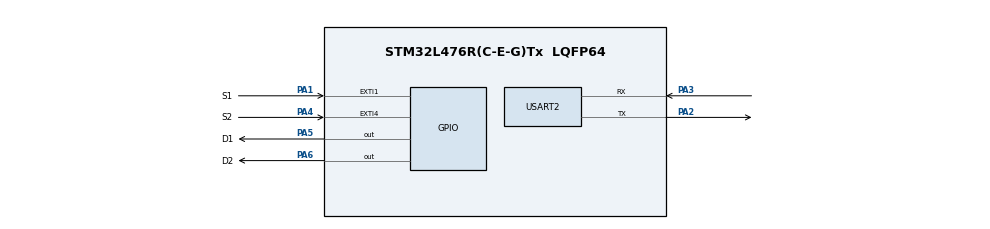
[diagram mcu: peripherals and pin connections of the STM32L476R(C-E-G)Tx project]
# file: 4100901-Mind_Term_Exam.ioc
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Mcu.Family=STM32L4
Mcu.Name=STM32L476R(C-E-G)Tx
Mcu.Package=LQFP64
NVIC.EXTI1_IRQn=true\:0\:0\:false\:false\:true\:true\:true\:true
NVIC.EXTI4_IRQn=true\:0\:0\:false\:false\:true\:true\:true\:true
NVIC.PriorityGroup=NVIC_PRIORITYGROUP_4
PA1.GPIO_Label=S1
PA1.Signal=GPXTI1
PA2.Mode=Asynchronous
PA2.Signal=USART2_TX
PA3.Mode=Asynchronous
PA3.Signal=USART2_RX
PA4.GPIO_Label=S2
PA4.Signal=GPXTI4
PA5.GPIO_Label=D1
PA5.PinState=GPIO_PIN_RESET
PA5.Signal=GPIO_Output
PA6.GPIO_Label=D2
PA6.PinState=GPIO_PIN_RESET
PA6.Signal=GPIO_Output
ProjectManager.HeapSize=0x200
ProjectManager.StackSize=0x400
ProjectManager.TargetToolchain=STM32CubeIDE
RCC.HSE_VALUE=8000000
RCC.HSI_VALUE=16000000
RCC.LSE_VALUE=32768
RCC.MSI_VALUE=4000000
RCC.VCOOutputFreq_Value=32000000
USART2.VirtualMode-Asynchronous=VM_ASYNC
board=custom

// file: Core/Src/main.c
/* USER CODE BEGIN Header */
/**
  ******************************************************************************
  * @file           : main.c
  * @brief          : Main program body
  ******************************************************************************
  * @attention
  *
  * Copyright (c) 2024 STMicroelectronics.
  * All rights reserved.
  *
  * This software is licensed under terms that can be found in the LICENSE file
  * in the root directory of this software component.
  * If no LICENSE file comes with this software, it is provided AS-IS.
  *
  ******************************************************************************
  */
/* USER CODE END Header */
#include "main.h"

UART_HandleTypeDef huart2;

/* USER CODE BEGIN PV */

//Creamos cada una de las funciones globales que vamos a utilizar
uint32_t left_toggles = 0;
uint32_t right_toggles = 0;
uint32_t left_last_press_tick = 0;
uint32_t right_last_press_tick = 0;
uint32_t state = 0;
uint32_t state2 = 0;

/* USER CODE END PV */

void SystemClock_Config(void);
static void MX_GPIO_Init(void);
static void MX_USART2_UART_Init(void);

/* USER CODE BEGIN 0 */

//Utilizamos la función callback para las interrupciones de los botones
//No tiene dato de salida esta función y la entrada viene llamada ya desde la mismo función pero "_wek"
void HAL_GPIO_EXTI_Callback(uint16_t GPIO_Pin)
{
	if (GPIO_Pin == S1_Pin && HAL_GetTick() > (left_last_press_tick + 200)) { // Colocamos un condicional que se active cuando se presione S1
		//Nos permite activar el led cuando lo necesitemos. Igualmente agregamos un condicional para disminuir el error "left_last_press_tick"
			if(right_toggles > 0){
				state = 1; //Añadimos este estado para cuando esté activo el led opuesto
			}
			//Seguido vamos a limpiar todas la variables para volver a ejecutar el proceso que necesitamos
			left_toggles = 0;
			right_toggles = 0;
			HAL_GPIO_WritePin(D2_GPIO_Port, D2_Pin, 1);
			HAL_UART_Transmit(&huart2, "S1\r\n", 4, 10);
			if (HAL_GetTick() < (left_last_press_tick + 500)) {//Agregamos un condicional para cuando se presione antes de
				// 500 ms, que sea indefinido el parpadeo
				left_toggles = 0xFFFFFF;
			} else {
				left_toggles = 6;
			}
		left_last_press_tick = HAL_GetTick();

		//Creamos un condicional similar al anterior pero ahora para el led derecho
	} 	else if (GPIO_Pin == S2_Pin && HAL_GetTick() > (right_last_press_tick + 200)) {
	 	 	 if(left_toggles > 0){
	 	 		 state2 = 1;
	 	 }
	 	 	 right_toggles = 0;
	 	 	 left_toggles = 0;
	 	 	 HAL_GPIO_WritePin(D1_GPIO_Port, D1_Pin, 1);
	 	 	 HAL_UART_Transmit(&huart2, "S2\r\n", 4, 10);
		if (HAL_GetTick() < (right_last_press_tick + 500)) {
			right_toggles = 0xFFFFFF; // a long time toggling (infinite)
		} else {
			right_toggles = 6;
				}
		right_last_press_tick = HAL_GetTick();

	}

}

//
//Creamos una función que nos permita activar el led D1 (izquierdo) tres veces en el momento que se presione
//el botón S1
void turn_signal_left(void)
{
	static uint32_t turn_toggle_tick = 0; // Esta variable sirve para validar el tiempo que lleve transcurrido desde el ingreso
	// a la función anterior
	if (turn_toggle_tick < HAL_GetTick()) {
		if (left_toggles > 0 && state != 1) {
			turn_toggle_tick = HAL_GetTick() + 250;
			HAL_GPIO_TogglePin(D1_GPIO_Port, D1_Pin);
			left_toggles--;
		}
	} else{
		state = 0;
	}
}
//Creamos una nueva función que cumple las misma condiciones que la anterior pero ahora para el led derecho

void turn_signal_right(void)
{
	static uint32_t turn_toggle_tick = 0;
	if (turn_toggle_tick < HAL_GetTick()) {
		if (right_toggles > 0 && state2 != 1) {
			turn_toggle_tick = HAL_GetTick() + 250;
			HAL_GPIO_TogglePin(D2_GPIO_Port, D2_Pin);
			right_toggles--;
		}
	} else{
		state2 = 0;
	}

}
/* USER CODE END 0 */

int main(void)
{

  /* MCU Configuration--------------------------------------------------------*/

  /* Reset of all peripherals, Initializes the Flash interface and the Systick. */
  HAL_Init();

  /* Configure the system clock */
  SystemClock_Config();

  /* Initialize all configured peripherals */
  MX_GPIO_Init();
  MX_USART2_UART_Init();

  /* Infinite loop */
  while (1)
  {

	  //Colocamos a ejecutar las funciones de forma constante, para que sean validadas
	  	  turn_signal_left();
	  	  turn_signal_right();

  }
}

void SystemClock_Config(void)
{
  RCC_OscInitTypeDef RCC_OscInitStruct = {0};
  RCC_ClkInitTypeDef RCC_ClkInitStruct = {0};

  /** Configure the main internal regulator output voltage
  */
  if (HAL_PWREx_ControlVoltageScaling(PWR_REGULATOR_VOLTAGE_SCALE1) != HAL_OK)
  {
    Error_Handler();
  }

  /** Initializes the RCC Oscillators according to the specified parameters
  * in the RCC_OscInitTypeDef structure.
  */
  RCC_OscInitStruct.OscillatorType = RCC_OSCILLATORTYPE_MSI;
  RCC_OscInitStruct.MSIState = RCC_MSI_ON;
  RCC_OscInitStruct.MSICalibrationValue = 0;
  RCC_OscInitStruct.MSIClockRange = RCC_MSIRANGE_6;
  RCC_OscInitStruct.PLL.PLLState = RCC_PLL_NONE;
  if (HAL_RCC_OscConfig(&RCC_OscInitStruct) != HAL_OK)
  {
    Error_Handler();
  }

  /** Initializes the CPU, AHB and APB buses clocks
  */
  RCC_ClkInitStruct.ClockType = RCC_CLOCKTYPE_HCLK|RCC_CLOCKTYPE_SYSCLK
                              |RCC_CLOCKTYPE_PCLK1|RCC_CLOCKTYPE_PCLK2;
  RCC_ClkInitStruct.SYSCLKSource = RCC_SYSCLKSOURCE_MSI;
  RCC_ClkInitStruct.AHBCLKDivider = RCC_SYSCLK_DIV1;
  RCC_ClkInitStruct.APB1CLKDivider = RCC_HCLK_DIV1;
  RCC_ClkInitStruct.APB2CLKDivider = RCC_HCLK_DIV1;

  if (HAL_RCC_ClockConfig(&RCC_ClkInitStruct, FLASH_LATENCY_0) != HAL_OK)
  {
    Error_Handler();
  }
}

static void MX_USART2_UART_Init(void)
{

  huart2.Instance = USART2;
  huart2.Init.BaudRate = 115200;
  huart2.Init.WordLength = UART_WORDLENGTH_8B;
  huart2.Init.StopBits = UART_STOPBITS_1;
  huart2.Init.Parity = UART_PARITY_NONE;
  huart2.Init.Mode = UART_MODE_TX_RX;
  huart2.Init.HwFlowCtl = UART_HWCONTROL_NONE;
  huart2.Init.OverSampling = UART_OVERSAMPLING_16;
  huart2.Init.OneBitSampling = UART_ONE_BIT_SAMPLE_DISABLE;
  huart2.AdvancedInit.AdvFeatureInit = UART_ADVFEATURE_NO_INIT;
  if (HAL_UART_Init(&huart2) != HAL_OK)
  {
    Error_Handler();
  }

}

static void MX_GPIO_Init(void)
{
  GPIO_InitTypeDef GPIO_InitStruct = {0};

  /* GPIO Ports Clock Enable */
  __HAL_RCC_GPIOA_CLK_ENABLE();

  /*Configure GPIO pin Output Level */
  HAL_GPIO_WritePin(GPIOA, D1_Pin|D2_Pin, GPIO_PIN_RESET);

  /*Configure GPIO pins : S1_Pin S2_Pin */
  GPIO_InitStruct.Pin = S1_Pin|S2_Pin;
  GPIO_InitStruct.Mode = GPIO_MODE_IT_RISING;
  GPIO_InitStruct.Pull = GPIO_NOPULL;
  HAL_GPIO_Init(GPIOA, &GPIO_InitStruct);

  /*Configure GPIO pins : D1_Pin D2_Pin */
  GPIO_InitStruct.Pin = D1_Pin|D2_Pin;
  GPIO_InitStruct.Mode = GPIO_MODE_OUTPUT_PP;
  GPIO_InitStruct.Pull = GPIO_NOPULL;
  GPIO_InitStruct.Speed = GPIO_SPEED_FREQ_LOW;
  HAL_GPIO_Init(GPIOA, &GPIO_InitStruct);

  /* EXTI interrupt init*/
  HAL_NVIC_SetPriority(EXTI1_IRQn, 0, 0);
  HAL_NVIC_EnableIRQ(EXTI1_IRQn);

  HAL_NVIC_SetPriority(EXTI4_IRQn, 0, 0);
  HAL_NVIC_EnableIRQ(EXTI4_IRQn);

}

void Error_Handler(void)
{
  __disable_irq();
  while (1)
  {
  }
}
